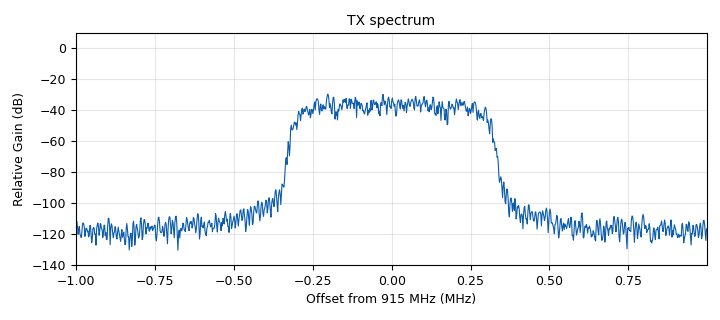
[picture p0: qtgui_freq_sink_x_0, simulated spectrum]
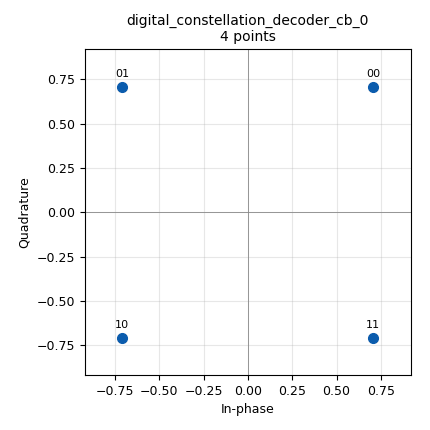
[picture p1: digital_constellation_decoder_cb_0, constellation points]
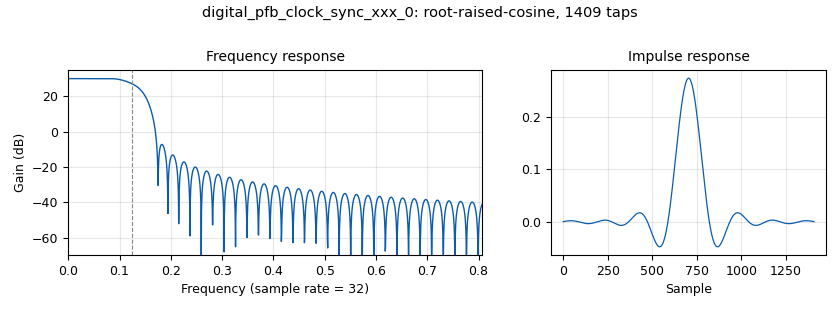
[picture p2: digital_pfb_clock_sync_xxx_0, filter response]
options:
  parameters:
    description: Differential QPSK full-duplex FDD PHY for two Pluto/E200 nodes. Needs qpsk_framing.py in this directory.
    generate_options: qt_gui
    generator_class_name: PythonQtGuiGenerator
    generator_module: gnuradio.grc.workflows.python_qt_gui
    id: qpsk_duplex_phy
    output_language: python
    title: QPSK duplex PHY (Pluto / E200)
  states: {}

blocks:
- name: access_threshold
  id: variable
  parameters:
    comment: bit errors allowed in access code
    value: '3'
  states: {}
- name: bandwidth
  id: variable
  parameters:
    comment: AD9361 analog filter
    value: 1.5e6
  states: {}
- name: buffer_size
  id: variable
  parameters:
    value: '16384'
  states: {}
- name: eq_alg
  id: variable_adaptive_algorithm
  parameters:
    comment: CMA
    cons: qpsk
    modulus: '4'
    step_size: '1e-4'
    type: cma
  states: {}
- name: excess_bw
  id: variable
  parameters:
    comment: matched on TX and RX
    value: '0.35'
  states: {}
- name: f_high
  id: variable
  parameters:
    value: 917e6
  states: {}
- name: f_low
  id: variable
  parameters:
    comment: FDD pair
    value: 915e6
  states: {}
- name: nfilts
  id: variable
  parameters:
    value: '32'
  states: {}
- name: phase_bw
  id: variable_qtgui_range
  parameters:
    label: Costas loop BW
    start: '0.0'
    step: '0.005'
    stop: '0.5'
    value: 6.28/100.0
    widget: slider
  states: {}
- name: qpsk
  id: variable_constellation_rect
  parameters:
    const_points: '[0.707+0.707j, -0.707+0.707j, -0.707-0.707j, 0.707-0.707j]'
    imag_sect: '2'
    real_sect: '2'
    rot_sym: '4'
    sym_map: '[0, 1, 2, 3]'
    w_imag_sect: '1'
    w_real_sect: '1'
  states: {}
- name: rrc_taps
  id: variable
  parameters:
    value: firdes.root_raised_cosine(nfilts, nfilts, 1.0/float(sps), excess_bw, 11*sps*nfilts)
  states: {}
- name: rx_freq
  id: variable
  parameters:
    value: f_high if role == 'a' else f_low
  states: {}
- name: samp_rate
  id: variable
  parameters:
    value: 2e6
  states: {}
- name: sps
  id: variable
  parameters:
    comment: samples per symbol
    value: '4'
  states: {}
- name: timing_bw
  id: variable_qtgui_range
  parameters:
    label: Timing loop BW
    start: '0.0'
    step: '0.005'
    stop: '0.2'
    value: 6.28/100.0
    widget: slider
  states: {}
- name: tx_amp
  id: variable_qtgui_range
  parameters:
    label: TX amplitude
    start: '0.0'
    step: '0.01'
    stop: '1.0'
    value: '0.6'
  states: {}
- name: tx_atten
  id: variable_qtgui_range
  parameters:
    label: TX attenuation (dB)
    start: '0'
    step: '1'
    stop: '40'
    value: '10'
  states: {}
- name: tx_freq
  id: variable
  parameters:
    value: f_low if role == 'a' else f_high
  states: {}
- name: analog_agc2_xx_0
  id: analog_agc2_xx
  parameters:
    attack_rate: '1e-1'
    comment: normalises the input so the\nCMA equaliser converges fast
    decay_rate: '1e-2'
    gain: '1.0'
    max_gain: '65536'
    maxoutbuf: '4096'
    reference: '1.0'
    type: complex
  states: {}
- name: blocks_message_debug_0
  id: blocks_message_debug
  parameters:
    comment: received frames print here
  states: {}
- name: blocks_message_strobe_0
  id: blocks_message_strobe
  parameters:
    comment: '''QPSK link test !'' every 2 s -- remove once the\nPython chat application drives this port'
    msg: pmt.cons(pmt.PMT_NIL, pmt.init_u8vector(16, [81,80,83,75,32,108,105,110,107,32,116,101,115,116,32,33]))
    period: '2000'
  states: {}
- name: blocks_multiply_const_vxx_0
  id: blocks_multiply_const_vxx
  parameters:
    comment: keep the DAC out of clipping
    const: tx_amp
    maxoutbuf: '4096'
    type: complex
  states: {}
- name: blocks_unpack_k_bits_bb_0
  id: blocks_unpack_k_bits_bb
  parameters:
    comment: 2 bits per symbol, MSB first
    k: '2'
    maxoutbuf: '4096'
  states: {}
- name: digital_constellation_decoder_cb_0
  id: digital_constellation_decoder_cb
  parameters:
    comment: symbols -> constellation index
    constellation: qpsk
    maxoutbuf: '4096'
  states: {}
- name: digital_constellation_modulator_0
  id: digital_constellation_modulator
  parameters:
    comment: differential QPSK + RRC
    constellation: qpsk
    differential: 'True'
    excess_bw: excess_bw
    maxoutbuf: '4096'
    samples_per_symbol: sps
  states: {}
- name: digital_correlate_access_code_tag_xx_0
  id: digital_correlate_access_code_tag_xx
  parameters:
    access_code: '''1010110011011101101001001110001011110010100011000010000011111100'''
    comment: GNU Radio default access code
    maxoutbuf: '4096'
    tagname: '''pkt_start'''
    threshold: access_threshold
    type: byte
  states: {}
- name: digital_costas_loop_cc_0
  id: digital_costas_loop_cc
  parameters:
    comment: carrier phase / fine frequency
    maxoutbuf: '4096'
    order: '4'
    w: phase_bw
  states: {}
- name: digital_diff_decoder_bb_0
  id: digital_diff_decoder_bb
  parameters:
    coding: digital.DIFF_DIFFERENTIAL
    comment: removes the QPSK phase ambiguity
    maxoutbuf: '4096'
    modulus: '4'
  states: {}
- name: digital_linear_equalizer_0
  id: digital_linear_equalizer
  parameters:
    alg: eq_alg
    comment: CMA multipath compensation
    maxoutbuf: '4096'
    num_taps: '15'
    sps: '2'
  states: {}
- name: digital_pfb_clock_sync_xxx_0
  id: digital_pfb_clock_sync_xxx
  parameters:
    comment: timing recovery, 2 sps out
    filter_size: nfilts
    init_phase: nfilts/2
    loop_bw: timing_bw
    max_dev: '1.5'
    maxoutbuf: '4096'
    osps: '2'
    sps: sps
    taps: rrc_taps
    type: ccf
  states: {}
- name: frame_sink
  id: epy_block
  parameters:
    _source_code: |
      """QPSK chat -- frame sink (GRC embedded block).

      Consumes the tagged bit stream from Correlate Access Code - Tag and emits one
      PDU on 'rx' per header- and CRC-valid frame.
      Requires qpsk_framing.py in the same directory as this flowgraph.
      """
      import os
      import sys

      import numpy as np
      import pmt
      from gnuradio import gr

      # ---------- inlined from qpsk_framing.py ----------
      import zlib
      from collections import deque

      import numpy as np

      # --------------------------------------------------------------------------
      # constants
      # --------------------------------------------------------------------------

      # gnuradio.digital.packet_utils.default_access_code (0xACDDA4E2F28C20FC)
      ACCESS_CODE = "1010110011011101101001001110001011110010100011000010000011111100"
      ACCESS_CODE_BYTES = bytes(
          int(ACCESS_CODE[i:i + 8], 2) for i in range(0, len(ACCESS_CODE), 8)
      )

      HDR_BYTES = 4          # len(2) + ~len(2)
      HDR_BITS = HDR_BYTES * 8
      CRC_BYTES = 4
      MAX_PAYLOAD = 1024     # link-layer payload ceiling; keep in sync with qpsk_chat
      MAX_BODY = MAX_PAYLOAD + CRC_BYTES
      MIN_BODY = CRC_BYTES + 1

      # Candidate bit offsets tried at a correlator tag before giving up.  Different
      # GNU Radio releases place the tag on the last access-code bit or on the first
      # bit after it; probing removes the ambiguity instead of hard-coding it.
      PROBE_OFFSETS = (0, 1, -1)


      # --------------------------------------------------------------------------
      # PN9 whitening
      # --------------------------------------------------------------------------

      def _make_pn(nbytes):
          """PN9 (x^9 + x^5 + 1) byte sequence, MSB-first, seed all-ones."""
          state = 0x1FF
          out = bytearray()
          for _ in range(nbytes):
              b = 0
              for _ in range(8):
                  bit = ((state >> 8) ^ (state >> 4)) & 1
                  state = ((state << 1) | bit) & 0x1FF
                  b = (b << 1) | bit
              out.append(b)
          return bytes(out)


      _PN_LEN = 511
      PN = _make_pn(_PN_LEN)
      _PN_ARR = np.frombuffer(PN, dtype=np.uint8)


      def pn_bytes(n, phase=0):
          """n bytes of the PN sequence starting at `phase` (cyclic)."""
          idx = (np.arange(n, dtype=np.int64) + phase) % _PN_LEN
          return _PN_ARR[idx]


      def whiten(data, phase=0):
          """XOR `data` (bytes) with the PN sequence.  Self-inverse."""
          a = np.frombuffer(data, dtype=np.uint8)
          return (a ^ pn_bytes(len(a), phase)).tobytes()


      # --------------------------------------------------------------------------
      # transmit side
      # --------------------------------------------------------------------------

      def build_frame(payload):
          """bytes -> packed frame bytes ready to hand to the modulator."""
          if not payload:
              raise ValueError("empty payload")
          if len(payload) > MAX_PAYLOAD:
              raise ValueError("payload %d > MAX_PAYLOAD %d" % (len(payload), MAX_PAYLOAD))
          crc = zlib.crc32(payload) & 0xFFFFFFFF
          body = bytes(payload) + crc.to_bytes(4, "big")
          ln = len(body)
          hdr = ln.to_bytes(2, "big") + (ln ^ 0xFFFF).to_bytes(2, "big")
          return ACCESS_CODE_BYTES + whiten(hdr + body)


      def frame_bits(payload):
          """Convenience: frame as an unpacked 0/1 bit array (MSB-first)."""
          return np.unpackbits(np.frombuffer(build_frame(payload), dtype=np.uint8))


      # --------------------------------------------------------------------------
      # receive side
      # --------------------------------------------------------------------------

      class FrameAssembler:
          """Turns a tagged bit stream into validated payloads.

          Feed it with add_bits(abs_index, bits) and add_tags(absolute_offsets),
          where the offsets come from a correlate_access_code_tag_bb tag.  Complete,
          CRC-good frames are handed to the `on_frame(payload_bytes)` callback.

          Everything is vectorised (np.packbits over slices); there is no per-bit
          Python loop, so it comfortably keeps up with a 1 Mbit/s bit stream.
          """

          MAX_PENDING_TAGS = 64

          def __init__(self, on_frame, max_body=MAX_BODY):
              self.on_frame = on_frame
              self.max_body = max_body
              self._buf = np.zeros(0, dtype=np.uint8)
              self._buf_start = 0          # absolute bit index of _buf[0]
              self._next_abs = 0           # absolute index of the next expected bit
              self._pending = deque()      # absolute tag offsets, ascending
              self._cur = None             # (abs_header_start, body_len)
              # counters
              self.n_tags = 0
              self.n_bad_header = 0
              self.n_bad_crc = 0
              self.n_frames = 0
              self.n_payload_bytes = 0

          # -- input ------------------------------------------------------------
          def add_tags(self, offsets):
              for off in offsets:
                  self._pending.append(int(off))
                  self.n_tags += 1
              while len(self._pending) > self.MAX_PENDING_TAGS:
                  self._pending.popleft()

          def add_bits(self, abs_index, bits):
              if abs_index != self._next_abs and self._next_abs != 0:
                  # stream discontinuity (flowgraph restart): resynchronise
                  self._reset_buffer(abs_index)
              elif self._next_abs == 0 and len(self._buf) == 0:
                  self._buf_start = abs_index
              self._buf = np.concatenate((self._buf, np.asarray(bits, dtype=np.uint8)))
              self._next_abs = abs_index + len(bits)

          def _reset_buffer(self, abs_index):
              self._buf = np.zeros(0, dtype=np.uint8)
              self._buf_start = abs_index
              self._pending.clear()
              self._cur = None

          # -- processing -------------------------------------------------------
          def process(self):
              end_abs = self._buf_start + len(self._buf)
              while True:
                  if self._cur is None:
                      if not self._pending:
                          break
                      tag = self._pending[0]
                      # need HDR_BITS from the latest candidate before we can decide
                      if tag + max(PROBE_OFFSETS) + HDR_BITS > end_abs:
                          break
                      self._pending.popleft()
                      cand = self._try_header(tag, end_abs)
                      if cand is None:
                          self.n_bad_header += 1
                          continue
                      self._cur = cand
                  start, body_len = self._cur
                  total_bits = HDR_BITS + body_len * 8
                  if start + total_bits > end_abs:
                      break
                  self._emit(start, body_len, total_bits)
                  self._cur = None
                  frame_end = start + total_bits
                  while self._pending and self._pending[0] < frame_end:
                      self._pending.popleft()
              self._trim()

          def _try_header(self, tag, end_abs):
              for off in PROBE_OFFSETS:
                  start = tag + off
                  if start < self._buf_start or start + HDR_BITS > end_abs:
                      continue
                  i = start - self._buf_start
                  hdr = whiten(np.packbits(self._buf[i:i + HDR_BITS]).tobytes())
                  ln = (hdr[0] << 8) | hdr[1]
                  comp = (hdr[2] << 8) | hdr[3]
                  if (ln ^ 0xFFFF) == comp and MIN_BODY <= ln <= self.max_body:
                      return (start, ln)
              return None

          def _emit(self, start, body_len, total_bits):
              i = start - self._buf_start
              raw = np.packbits(self._buf[i:i + total_bits]).tobytes()
              frame = whiten(raw)
              body = frame[HDR_BYTES:]
              payload, crc = body[:-CRC_BYTES], body[-CRC_BYTES:]
              if zlib.crc32(payload) & 0xFFFFFFFF == int.from_bytes(crc, "big"):
                  self.n_frames += 1
                  self.n_payload_bytes += len(payload)
                  self.on_frame(payload)
              else:
                  self.n_bad_crc += 1

          def _trim(self):
              end_abs = self._buf_start + len(self._buf)
              if self._cur is not None:
                  keep_from = self._cur[0]
              elif self._pending:
                  keep_from = self._pending[0] + min(PROBE_OFFSETS)
              else:
                  # keep a small tail so a tag landing on the chunk boundary can
                  # still be probed backwards
                  keep_from = end_abs - 8
              keep_from = max(self._buf_start, min(keep_from, end_abs))
              drop = keep_from - self._buf_start
              if drop > 0:
                  self._buf = self._buf[drop:]
                  self._buf_start = keep_from

          # -- reporting --------------------------------------------------------
          def stats(self):
              return {
                  "tags": self.n_tags,
                  "frames": self.n_frames,
                  "bad_header": self.n_bad_header,
                  "bad_crc": self.n_bad_crc,
                  "payload_bytes": self.n_payload_bytes,
              }
      # ---------- end of inlined qpsk_framing.py --------


      class blk(gr.sync_block):
          """QPSK chat frame sink: tagged bits in, one PDU out per good frame."""

          def __init__(self, tag_key='pkt_start'):
              gr.sync_block.__init__(self, name='frame_sink', in_sig=[np.uint8],
                                     out_sig=None)
              self.tag_key = tag_key
              self._tag = pmt.string_to_symbol(tag_key)
              self.asm = FrameAssembler(self._deliver)
              self.message_port_register_out(pmt.intern('rx'))

          def _deliver(self, payload):
              vec = pmt.init_u8vector(len(payload), list(payload))
              self.message_port_pub(pmt.intern('rx'), pmt.cons(pmt.PMT_NIL, vec))

          def work(self, input_items, output_items):
              in0 = input_items[0]
              n = len(in0)
              tags = self.get_tags_in_window(0, 0, n, self._tag)
              if tags:
                  self.asm.add_tags([t.offset for t in tags])
              self.asm.add_bits(self.nitems_read(0), in0)
              self.asm.process()
              return n
    comment: header + CRC32 check,\none PDU per good frame
    tag_key: '''pkt_start'''
  states: {}
- name: frame_source
  id: epy_block
  parameters:
    _source_code: |
      """QPSK chat -- frame source (GRC embedded block).

      Frames every PDU arriving on 'send' and emits it as bytes; transmits PN
      filler while idle so the peer's timing/carrier loops never lose lock.
      Requires qpsk_framing.py in the same directory as this flowgraph.
      """
      import os
      import sys
      import threading
      from collections import deque

      import numpy as np
      import pmt
      from gnuradio import gr

      # ---------- inlined from qpsk_framing.py ----------
      import zlib
      from collections import deque

      import numpy as np

      # --------------------------------------------------------------------------
      # constants
      # --------------------------------------------------------------------------

      # gnuradio.digital.packet_utils.default_access_code (0xACDDA4E2F28C20FC)
      ACCESS_CODE = "1010110011011101101001001110001011110010100011000010000011111100"
      ACCESS_CODE_BYTES = bytes(
          int(ACCESS_CODE[i:i + 8], 2) for i in range(0, len(ACCESS_CODE), 8)
      )

      HDR_BYTES = 4          # len(2) + ~len(2)
      HDR_BITS = HDR_BYTES * 8
      CRC_BYTES = 4
      MAX_PAYLOAD = 1024     # link-layer payload ceiling; keep in sync with qpsk_chat
      MAX_BODY = MAX_PAYLOAD + CRC_BYTES
      MIN_BODY = CRC_BYTES + 1

      # Candidate bit offsets tried at a correlator tag before giving up.  Different
      # GNU Radio releases place the tag on the last access-code bit or on the first
      # bit after it; probing removes the ambiguity instead of hard-coding it.
      PROBE_OFFSETS = (0, 1, -1)


      # --------------------------------------------------------------------------
      # PN9 whitening
      # --------------------------------------------------------------------------

      def _make_pn(nbytes):
          """PN9 (x^9 + x^5 + 1) byte sequence, MSB-first, seed all-ones."""
          state = 0x1FF
          out = bytearray()
          for _ in range(nbytes):
              b = 0
              for _ in range(8):
                  bit = ((state >> 8) ^ (state >> 4)) & 1
                  state = ((state << 1) | bit) & 0x1FF
                  b = (b << 1) | bit
              out.append(b)
          return bytes(out)


      _PN_LEN = 511
      PN = _make_pn(_PN_LEN)
      _PN_ARR = np.frombuffer(PN, dtype=np.uint8)


      def pn_bytes(n, phase=0):
          """n bytes of the PN sequence starting at `phase` (cyclic)."""
          idx = (np.arange(n, dtype=np.int64) + phase) % _PN_LEN
          return _PN_ARR[idx]


      def whiten(data, phase=0):
          """XOR `data` (bytes) with the PN sequence.  Self-inverse."""
          a = np.frombuffer(data, dtype=np.uint8)
          return (a ^ pn_bytes(len(a), phase)).tobytes()


      # --------------------------------------------------------------------------
      # transmit side
      # --------------------------------------------------------------------------

      def build_frame(payload):
          """bytes -> packed frame bytes ready to hand to the modulator."""
          if not payload:
              raise ValueError("empty payload")
          if len(payload) > MAX_PAYLOAD:
              raise ValueError("payload %d > MAX_PAYLOAD %d" % (len(payload), MAX_PAYLOAD))
          crc = zlib.crc32(payload) & 0xFFFFFFFF
          body = bytes(payload) + crc.to_bytes(4, "big")
          ln = len(body)
          hdr = ln.to_bytes(2, "big") + (ln ^ 0xFFFF).to_bytes(2, "big")
          return ACCESS_CODE_BYTES + whiten(hdr + body)


      def frame_bits(payload):
          """Convenience: frame as an unpacked 0/1 bit array (MSB-first)."""
          return np.unpackbits(np.frombuffer(build_frame(payload), dtype=np.uint8))


      # --------------------------------------------------------------------------
      # receive side
      # --------------------------------------------------------------------------

      class FrameAssembler:
          """Turns a tagged bit stream into validated payloads.

          Feed it with add_bits(abs_index, bits) and add_tags(absolute_offsets),
          where the offsets come from a correlate_access_code_tag_bb tag.  Complete,
          CRC-good frames are handed to the `on_frame(payload_bytes)` callback.

          Everything is vectorised (np.packbits over slices); there is no per-bit
          Python loop, so it comfortably keeps up with a 1 Mbit/s bit stream.
          """

          MAX_PENDING_TAGS = 64

          def __init__(self, on_frame, max_body=MAX_BODY):
              self.on_frame = on_frame
              self.max_body = max_body
              self._buf = np.zeros(0, dtype=np.uint8)
              self._buf_start = 0          # absolute bit index of _buf[0]
              self._next_abs = 0           # absolute index of the next expected bit
              self._pending = deque()      # absolute tag offsets, ascending
              self._cur = None             # (abs_header_start, body_len)
              # counters
              self.n_tags = 0
              self.n_bad_header = 0
              self.n_bad_crc = 0
              self.n_frames = 0
              self.n_payload_bytes = 0

          # -- input ------------------------------------------------------------
          def add_tags(self, offsets):
              for off in offsets:
                  self._pending.append(int(off))
                  self.n_tags += 1
              while len(self._pending) > self.MAX_PENDING_TAGS:
                  self._pending.popleft()

          def add_bits(self, abs_index, bits):
              if abs_index != self._next_abs and self._next_abs != 0:
                  # stream discontinuity (flowgraph restart): resynchronise
                  self._reset_buffer(abs_index)
              elif self._next_abs == 0 and len(self._buf) == 0:
                  self._buf_start = abs_index
              self._buf = np.concatenate((self._buf, np.asarray(bits, dtype=np.uint8)))
              self._next_abs = abs_index + len(bits)

          def _reset_buffer(self, abs_index):
              self._buf = np.zeros(0, dtype=np.uint8)
              self._buf_start = abs_index
              self._pending.clear()
              self._cur = None

          # -- processing -------------------------------------------------------
          def process(self):
              end_abs = self._buf_start + len(self._buf)
              while True:
                  if self._cur is None:
                      if not self._pending:
                          break
                      tag = self._pending[0]
                      # need HDR_BITS from the latest candidate before we can decide
                      if tag + max(PROBE_OFFSETS) + HDR_BITS > end_abs:
                          break
                      self._pending.popleft()
                      cand = self._try_header(tag, end_abs)
                      if cand is None:
                          self.n_bad_header += 1
                          continue
                      self._cur = cand
                  start, body_len = self._cur
                  total_bits = HDR_BITS + body_len * 8
                  if start + total_bits > end_abs:
                      break
                  self._emit(start, body_len, total_bits)
                  self._cur = None
                  frame_end = start + total_bits
                  while self._pending and self._pending[0] < frame_end:
                      self._pending.popleft()
              self._trim()

          def _try_header(self, tag, end_abs):
              for off in PROBE_OFFSETS:
                  start = tag + off
                  if start < self._buf_start or start + HDR_BITS > end_abs:
                      continue
                  i = start - self._buf_start
                  hdr = whiten(np.packbits(self._buf[i:i + HDR_BITS]).tobytes())
                  ln = (hdr[0] << 8) | hdr[1]
                  comp = (hdr[2] << 8) | hdr[3]
                  if (ln ^ 0xFFFF) == comp and MIN_BODY <= ln <= self.max_body:
                      return (start, ln)
              return None

          def _emit(self, start, body_len, total_bits):
              i = start - self._buf_start
              raw = np.packbits(self._buf[i:i + total_bits]).tobytes()
              frame = whiten(raw)
              body = frame[HDR_BYTES:]
              payload, crc = body[:-CRC_BYTES], body[-CRC_BYTES:]
              if zlib.crc32(payload) & 0xFFFFFFFF == int.from_bytes(crc, "big"):
                  self.n_frames += 1
                  self.n_payload_bytes += len(payload)
                  self.on_frame(payload)
              else:
                  self.n_bad_crc += 1

          def _trim(self):
              end_abs = self._buf_start + len(self._buf)
              if self._cur is not None:
                  keep_from = self._cur[0]
              elif self._pending:
                  keep_from = self._pending[0] + min(PROBE_OFFSETS)
              else:
                  # keep a small tail so a tag landing on the chunk boundary can
                  # still be probed backwards
                  keep_from = end_abs - 8
              keep_from = max(self._buf_start, min(keep_from, end_abs))
              drop = keep_from - self._buf_start
              if drop > 0:
                  self._buf = self._buf[drop:]
                  self._buf_start = keep_from

          # -- reporting --------------------------------------------------------
          def stats(self):
              return {
                  "tags": self.n_tags,
                  "frames": self.n_frames,
                  "bad_header": self.n_bad_header,
                  "bad_crc": self.n_bad_crc,
                  "payload_bytes": self.n_payload_bytes,
              }
      # ---------- end of inlined qpsk_framing.py --------


      class blk(gr.sync_block):
          """QPSK chat frame source: PDU in ('send'), framed bytes out."""

          def __init__(self, idle_chunk=1024):
              gr.sync_block.__init__(self, name='frame_source', in_sig=None,
                                     out_sig=[np.uint8])
              self.idle_chunk = int(idle_chunk)
              self._lock = threading.Lock()
              self._q = deque()
              self._cur = None
              self._pos = 0
              self._filler = pn_bytes(4096)
              self._fpos = 0
              self.message_port_register_in(pmt.intern('send'))
              self.set_msg_handler(pmt.intern('send'), self._on_msg)

          def _on_msg(self, msg):
              if pmt.is_pair(msg):
                  msg = pmt.cdr(msg)
              if pmt.is_u8vector(msg):
                  payload = bytes(pmt.u8vector_elements(msg))
              elif pmt.is_symbol(msg):
                  payload = pmt.symbol_to_string(msg).encode('utf-8')
              else:
                  return
              frame = np.frombuffer(build_frame(payload), dtype=np.uint8)
              with self._lock:
                  self._q.append(frame)

          def _idle(self, n):
              out = np.empty(n, dtype=np.uint8)
              got = 0
              while got < n:
                  take = min(n - got, len(self._filler) - self._fpos)
                  out[got:got + take] = self._filler[self._fpos:self._fpos + take]
                  got += take
                  self._fpos = (self._fpos + take) % len(self._filler)
              return out

          def work(self, input_items, output_items):
              out = output_items[0]
              n = len(out)
              produced = 0
              while produced < n:
                  if self._cur is None or self._pos >= len(self._cur):
                      with self._lock:
                          self._cur = self._q.popleft() if self._q else None
                      self._pos = 0
                      if self._cur is None:
                          take = min(n - produced, self.idle_chunk)
                          out[produced:produced + take] = self._idle(take)
                          produced += take
                          break
                  take = min(n - produced, len(self._cur) - self._pos)
                  out[produced:produced + take] = self._cur[self._pos:self._pos + take]
                  self._pos += take
                  produced += take
              return produced
    comment: PDU in -> framed bytes out,\nPN filler while idle
    idle_chunk: '1024'
    maxoutbuf: '4096'
  states: {}
- name: iio_pluto_sink_0
  id: iio_pluto_sink
  parameters:
    attenuation1: tx_atten
    bandwidth: int(bandwidth)
    buffer_size: buffer_size
    cyclic: 'False'
    filter_source: '''Auto'''
    frequency: int(tx_freq)
    samplerate: int(samp_rate)
    type: fc32
    uri: uri
  states: {}
- name: iio_pluto_source_0
  id: iio_pluto_source
  parameters:
    bandwidth: int(bandwidth)
    bbdc: 'True'
    buffer_size: buffer_size
    filter_source: '''Auto'''
    frequency: int(rx_freq)
    gain1: '''slow_attack'''
    len_tag_key: ''
    manual_gain1: '40'
    quadrature: 'True'
    rfdc: 'True'
    samplerate: int(samp_rate)
    type: fc32
    uri: uri
  states: {}
- name: import_0
  id: import
  parameters:
    imports: from gnuradio.filter import firdes
  states: {}
- name: note_0
  id: note
  parameters:
    comment: Bench diagnostic twin of qpsk_chat.py. Run one node with -r a, the other with -r b. qpsk_framing.py must be in this directory.
    note: read me
  states: {}
- name: qtgui_const_sink_x_0
  id: qtgui_const_sink_x
  parameters:
    comment: should show four tight clusters when locked
    grid: 'True'
    gui_hint: 2,0,1,2
    legend: 'False'
    name: '"RX constellation"'
    size: '1024'
    type: complex
  states: {}
- name: qtgui_freq_sink_x_0
  id: qtgui_freq_sink_x
  parameters:
    average: '0.2'
    bw: samp_rate
    fc: tx_freq
    fftsize: '1024'
    grid: 'True'
    gui_hint: 1,0,1,1
    legend: 'False'
    name: '"TX spectrum"'
    type: complex
  states: {}
- name: qtgui_freq_sink_x_1
  id: qtgui_freq_sink_x
  parameters:
    average: '0.2'
    bw: samp_rate
    fc: rx_freq
    fftsize: '1024'
    grid: 'True'
    gui_hint: 1,1,1,1
    legend: 'False'
    name: '"RX spectrum"'
    type: complex
  states: {}
- name: role
  id: parameter
  parameters:
    comment: 'a: TX 915 / RX 917    b: TX 917 / RX 915'
    label: FDD role (a or b)
    short_id: r
    type: str
    value: a
  states: {}
- name: uri
  id: parameter
  parameters:
    label: Pluto URI
    short_id: u
    type: str
    value: ip:192.168.1.10
  states: {}

connections:
- [analog_agc2_xx_0, '0', digital_pfb_clock_sync_xxx_0, '0']
- [analog_agc2_xx_0, '0', qtgui_freq_sink_x_1, '0']
- [blocks_message_strobe_0, strobe, frame_source, send]
- [blocks_multiply_const_vxx_0, '0', iio_pluto_sink_0, '0']
- [blocks_multiply_const_vxx_0, '0', qtgui_freq_sink_x_0, '0']
- [blocks_unpack_k_bits_bb_0, '0', digital_correlate_access_code_tag_xx_0, '0']
- [digital_constellation_decoder_cb_0, '0', digital_diff_decoder_bb_0, '0']
- [digital_constellation_modulator_0, '0', blocks_multiply_const_vxx_0, '0']
- [digital_correlate_access_code_tag_xx_0, '0', frame_sink, '0']
- [digital_costas_loop_cc_0, '0', digital_constellation_decoder_cb_0, '0']
- [digital_costas_loop_cc_0, '0', qtgui_const_sink_x_0, '0']
- [digital_diff_decoder_bb_0, '0', blocks_unpack_k_bits_bb_0, '0']
- [digital_linear_equalizer_0, '0', digital_costas_loop_cc_0, '0']
- [digital_pfb_clock_sync_xxx_0, '0', digital_linear_equalizer_0, '0']
- [frame_sink, rx, blocks_message_debug_0, print]
- [frame_source, '0', digital_constellation_modulator_0, '0']
- [iio_pluto_source_0, '0', analog_agc2_xx_0, '0']

metadata:
  file_format: 1
  grc_version: 3.10.12.0
